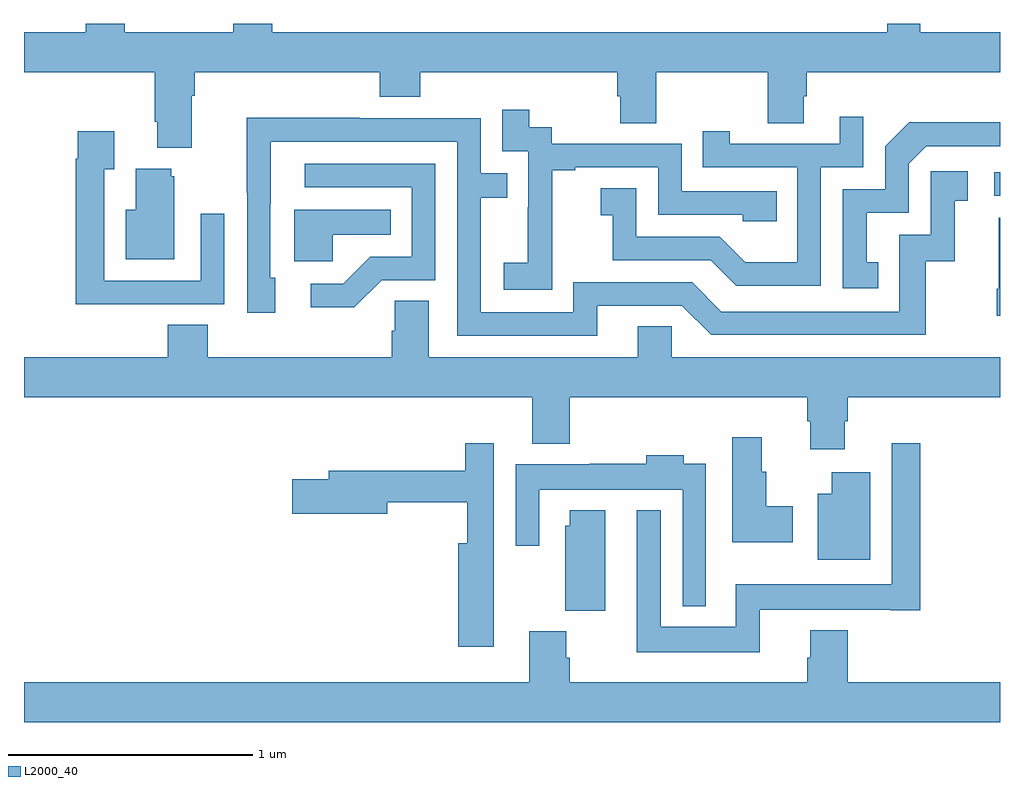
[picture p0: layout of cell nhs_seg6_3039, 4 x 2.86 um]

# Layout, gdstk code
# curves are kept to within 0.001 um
import gdstk
lib = gdstk.Library(unit=1e-6, precision=1e-09)
def R(c, l, rs):  # rectangles x0, y0, x1, y1
    for r in rs: c.add(gdstk.rectangle(r[:2], r[2:], *l))
def P(c, l, *ps):  # polygons
    for p in ps: c.add(gdstk.Polygon(p, *l))
L2000_40 = (2000, 40)

nhs_seg6_3039 = lib.new_cell('nhs_seg6_3039')
R(nhs_seg6_3039, L2000_40, [(292.977,982.794,293,982.89)])
P(nhs_seg6_3039, L2000_40, [(289.687,983.204),(289.7,983.204),(289.7,983.3),(290.459,983.3),(290.459,983.201),(290.624,983.201),(290.624,983.3),(291.431,983.3),(291.431,983.202),(291.443,983.202),(291.443,983.092),(291.591,983.092),(291.591,983.3),(292.048,983.3),(292.048,983.092),(292.195,983.092),(292.195,983.202),(292.208,983.202),(292.208,983.3),(293,983.3),(293,983.464),(292.673,983.464),(292.673,983.5),(292.537,983.5),(292.537,983.464),(290.018,983.464),(290.018,983.5),(289.858,983.5),(289.858,983.464),(289.413,983.464),(289.413,983.5),(289.253,983.5),(289.253,983.464),(289,983.464),(289,983.3),(289.535,983.3),(289.535,983.098),(289.547,983.098),(289.547,982.991),(289.687,982.991)],
  [(291.165,982.615),(291.164,982.615),(291.164,982.899),(291.259,982.899),(291.259,982.911),(291.6,982.911),(291.6,982.716),(291.945,982.716),(291.945,982.689),(292.085,982.689),(292.085,982.812),(291.696,982.812),(291.696,983.007),(291.162,983.007),(291.162,983.076),(291.07,983.076),(291.07,983.146),(290.961,983.146),(290.961,982.977),(291.066,982.977),(291.066,982.748),(291.065,982.748),(291.065,982.519),(290.967,982.519),(290.967,982.409),(291.165,982.409)],
  [(292.266,982.911),(292.44,982.911),(292.44,983.119),(292.343,983.119),(292.343,983.007),(291.892,983.007),(291.892,983.059),(291.781,983.059),(291.781,982.911),(292.17,982.911),(292.17,982.522),(291.956,982.522),(291.852,982.626),(291.51,982.626),(291.51,982.825),(291.363,982.825),(291.363,982.715),(291.412,982.715),(291.412,982.53),(291.815,982.53),(291.92,982.425),(292.266,982.425)],
  [(291.349,982.344),(291.696,982.344),(291.816,982.224),(292.696,982.224),(292.696,982.527),(292.814,982.527),(292.814,982.773),(292.867,982.773),(292.867,982.894),(292.716,982.894),(292.716,982.635),(292.587,982.635),(292.587,982.32),(291.858,982.32),(291.738,982.44),(291.252,982.44),(291.252,982.317),(290.871,982.317),(290.871,982.786),(290.981,982.786),(290.981,982.887),(290.871,982.887),(290.871,983.112),(290.375,983.112),(290.375,983.114),(289.912,983.114),(289.912,982.807),(289.914,982.807),(289.914,982.314),(290.029,982.314),(290.029,982.458),(290.01,982.458),(290.011,983.016),(290.775,983.016),(290.775,982.221),(291.349,982.221)],
  [(292.502,982.521),(292.453,982.521),(292.453,982.725),(292.626,982.725),(292.626,982.926),(292.698,982.998),(293,982.998),(293,983.096),(292.628,983.096),(292.53,982.998),(292.53,982.821),(292.356,982.821),(292.356,982.416),(292.502,982.416)],
  [(289.505,982.35),(289.821,982.35),(289.821,982.72),(289.725,982.72),(289.725,982.446),(289.329,982.446),(289.329,982.903),(289.369,982.903),(289.369,983.059),(289.221,983.059),(289.221,982.946),(289.213,982.946),(289.213,982.349),(289.505,982.349)],
  [(290.466,982.449),(290.685,982.449),(290.685,982.926),(290.151,982.926),(290.151,982.83),(290.589,982.83),(290.589,982.545),(290.42,982.545),(290.309,982.434),(290.175,982.434),(290.175,982.337),(290.353,982.337)],
  [(289.615,982.875),(289.604,982.875),(289.604,982.906),(289.457,982.906),(289.457,982.738),(289.418,982.738),(289.418,982.535),(289.615,982.535)],
  [(290.265,982.634),(290.504,982.634),(290.504,982.738),(290.108,982.738),(290.108,982.526),(290.265,982.526)],
  [(293,982.705),(292.994,982.705),(292.994,982.414),(292.987,982.414),(292.987,982.302),(293,982.302)],
  [(292.363,981.87),(292.376,981.87),(292.376,981.968),(293,981.968),(293,982.132),(291.654,982.132),(291.654,982.259),(291.515,982.259),(291.515,982.132),(290.659,982.132),(290.659,982.364),(290.52,982.364),(290.52,982.241),(290.507,982.241),(290.507,982.132),(289.754,982.132),(289.754,982.265),(289.589,982.265),(289.589,982.132),(289,982.132),(289,981.968),(291.083,981.968),(291.083,981.779),(291.236,981.779),(291.236,981.968),(292.211,981.968),(292.211,981.87),(292.223,981.87),(292.223,981.756),(292.363,981.756)],
  [(292.15,981.522),(292.042,981.522),(292.042,981.663),(292.024,981.663),(292.024,981.805),(291.902,981.805),(291.902,981.374),(292.15,981.374)],
  [(290.926,981.266),(290.925,981.266),(290.925,981.781),(290.809,981.781),(290.809,981.667),(290.249,981.667),(290.249,981.633),(290.1,981.633),(290.1,981.491),(290.488,981.491),(290.488,981.538),(290.817,981.538),(290.817,981.37),(290.78,981.37),(290.78,980.946),(290.926,980.946)],
  [(292.016,981.098),(292.55,981.098),(292.55,981.096),(292.673,981.096),(292.673,981.781),(292.557,981.781),(292.557,981.202),(291.918,981.202),(291.918,981.028),(291.609,981.028),(291.609,981.505),(291.512,981.505),(291.512,980.924),(292.016,980.924)],
  [(291.795,981.697),(291.703,981.697),(291.703,981.73),(291.551,981.73),(291.551,981.697),(291.319,981.697),(291.319,981.694),(291.015,981.694),(291.015,981.36),(291.111,981.36),(291.111,981.59),(291.699,981.59),(291.699,981.113),(291.795,981.113)],
  [(292.468,981.661),(292.31,981.661),(292.31,981.574),(292.253,981.574),(292.253,981.302),(292.468,981.302)],
  [(291.382,981.505),(291.236,981.505),(291.236,981.441),(291.218,981.441),(291.218,981.094),(291.382,981.094)],
  [(293,980.8),(292.376,980.8),(292.376,981.013),(292.223,981.013),(292.223,980.901),(292.211,980.901),(292.211,980.8),(291.236,980.8),(291.236,980.9),(291.223,980.9),(291.223,981.009),(291.071,981.009),(291.071,980.8),(289,980.8),(289,980.636),(293,980.636)])

lib.write_gds('nhs_seg6_3039.gds')
